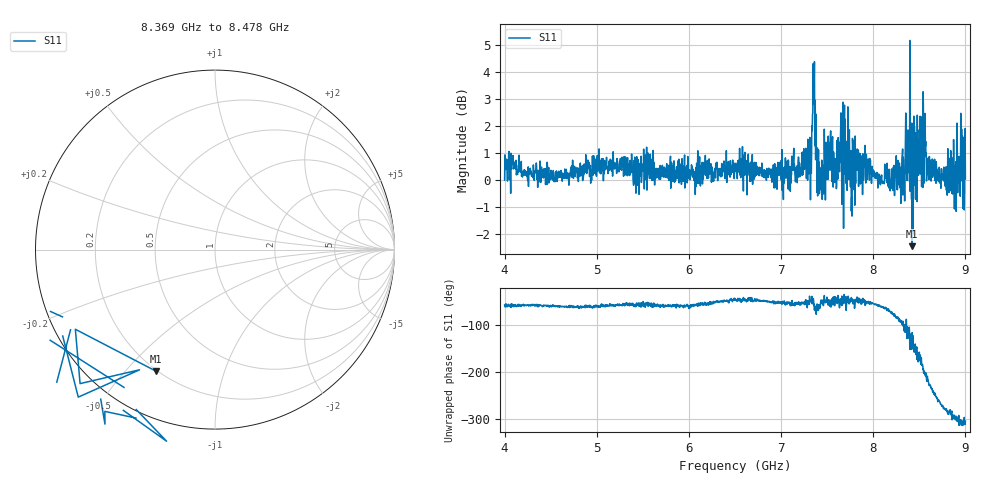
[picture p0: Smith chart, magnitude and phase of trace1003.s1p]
! Created with skrf 1.8.0 (http://scikit-rf.org).
# Hz S RI R 50.0
!freq ReS11 ImS11
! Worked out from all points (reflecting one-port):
!   1601 points, 4 GHz to 9 GHz, reference 50 ohm
!   lowest |S11| = -2.5 dB at 8.422 GHz (marker M1), VSWR 7.09, Z = 9.75 - j30.5 ohm
!   phase of S11 starts at -57 deg and turns -248 deg over the sweep
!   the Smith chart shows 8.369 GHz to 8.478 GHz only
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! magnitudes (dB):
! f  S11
! 4 GHz  0.0
! 4.094 GHz  0.6
! 4.625 GHz  0.0
! 5.25 GHz  0.5
! 5.875 GHz  0.2
! 6.5 GHz  0.3
! 7.125 GHz  0.9
! 7.297 GHz  1.3
! 7.356 GHz  3.0
! 7.4 GHz  0.2
! 7.422 GHz  0.3
! 7.512 GHz  1.6
! 7.591 GHz  0.7
! 7.669 GHz  2.4
! 7.75 GHz  0.2
! 7.775 GHz  1.5
! 7.828 GHz  1.0
! 8.316 GHz  0.9
! 8.375 GHz  0.8
! 8.412 GHz  0.4
! 8.422 GHz  -2.5
! 8.447 GHz  2.0
! 8.459 GHz  -0.7
! 8.519 GHz  2.3
! 8.603 GHz  0.7
! 8.875 GHz  0.4
! 8.972 GHz  1.0
! 9 GHz  0.0
